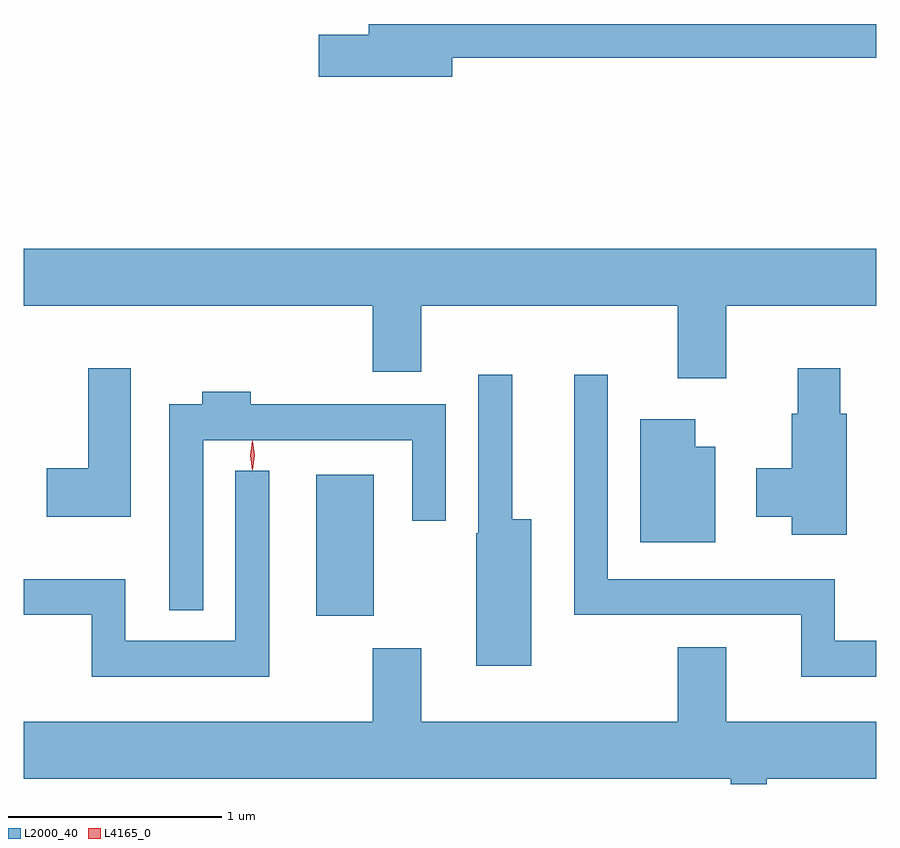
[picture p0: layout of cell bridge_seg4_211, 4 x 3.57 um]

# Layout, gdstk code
import gdstk
lib = gdstk.Library(unit=1e-6, precision=1e-09)
def R(c, l, rs):  # rectangles x0, y0, x1, y1
    for r in rs: c.add(gdstk.rectangle(r[:2], r[2:], *l))
def P(c, l, *ps):  # polygons
    for p in ps: c.add(gdstk.Polygon(p, *l))
L2000_40 = (2000, 40)
L4165_0 = (4165, 0)

bridge_seg4_211 = lib.new_cell('bridge_seg4_211')
R(bridge_seg4_211, L2000_40, [(1055.896,1306.601,1056.164,1307.264)])
P(bridge_seg4_211, L2000_40, [(1056.534,1309.221),(1058.523,1309.221),(1058.523,1309.379),(1056.141,1309.379),(1056.141,1309.329),(1055.906,1309.329),(1055.906,1309.131),(1056.534,1309.131)],
  [(1057.819,1308.056),(1058.523,1308.056),(1058.523,1308.324),(1054.523,1308.324),(1054.523,1308.056),(1056.161,1308.056),(1056.161,1307.746),(1056.389,1307.746),(1056.389,1308.056),(1057.591,1308.056),(1057.591,1307.716),(1057.819,1307.716)],
  [(1055.024,1307.764),(1054.826,1307.764),(1054.826,1307.294),(1054.631,1307.294),(1054.631,1307.066),(1055.024,1307.066)],
  [(1058.384,1307.549),(1058.354,1307.549),(1058.354,1307.764),(1058.156,1307.764),(1058.156,1307.549),(1058.126,1307.549),(1058.126,1307.294),(1057.961,1307.294),(1057.961,1307.066),(1058.126,1307.066),(1058.126,1306.981),(1058.384,1306.981)],
  [(1056.904,1307.054),(1056.814,1307.054),(1056.814,1307.733),(1056.656,1307.733),(1056.656,1306.99),(1056.646,1306.99),(1056.646,1306.366),(1056.904,1306.366)],
  [(1058.523,1306.484),(1058.329,1306.484),(1058.329,1306.774),(1057.264,1306.774),(1057.264,1307.733),(1057.106,1307.733),(1057.106,1306.606),(1058.171,1306.606),(1058.171,1306.316),(1058.523,1306.316)],
  [(1055.364,1307.426),(1056.346,1307.426),(1056.346,1307.048),(1056.504,1307.048),(1056.504,1307.594),(1055.589,1307.594),(1055.589,1307.654),(1055.361,1307.654),(1055.361,1307.594),(1055.206,1307.594),(1055.206,1306.628),(1055.364,1306.628)],
  [(1057.769,1307.394),(1057.674,1307.394),(1057.674,1307.524),(1057.416,1307.524),(1057.416,1306.946),(1057.769,1306.946)],
  [(1055.674,1307.283),(1055.516,1307.283),(1055.516,1306.484),(1054.999,1306.484),(1054.999,1306.774),(1054.523,1306.774),(1054.523,1306.606),(1054.841,1306.606),(1054.841,1306.316),(1055.674,1306.316)],
  [(1058.009,1305.836),(1058.523,1305.836),(1058.523,1306.104),(1057.819,1306.104),(1057.819,1306.454),(1057.591,1306.454),(1057.591,1306.104),(1056.389,1306.104),(1056.389,1306.449),(1056.161,1306.449),(1056.161,1306.104),(1054.523,1306.104),(1054.523,1305.836),(1057.841,1305.836),(1057.841,1305.812),(1058.009,1305.812)])
P(bridge_seg4_211, L4165_0, [(1055.596,1307.287),(1055.596,1307.288),(1055.586,1307.354),(1055.596,1307.42),(1055.596,1307.421),(1055.597,1307.42),(1055.606,1307.354),(1055.597,1307.288)],
  [(1055.595,1307.284),(1055.595,1307.284),(1055.585,1307.353),(1055.595,1307.423),(1055.595,1307.423),(1055.596,1307.423),(1055.605,1307.353),(1055.596,1307.284)])

lib.write_gds('bridge_seg4_211.gds')
